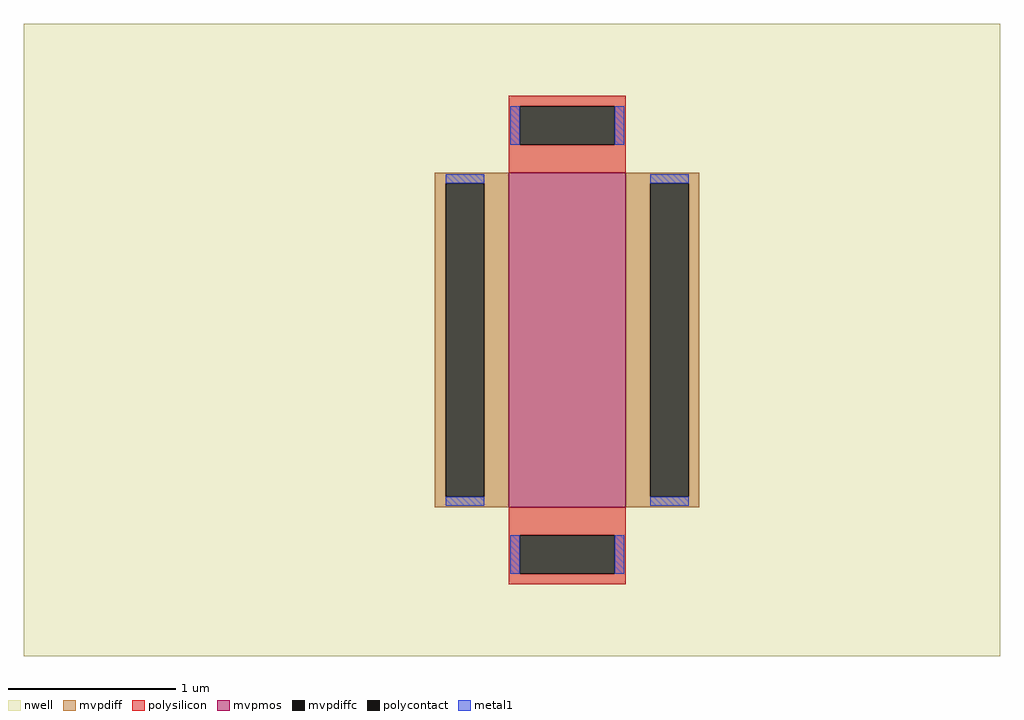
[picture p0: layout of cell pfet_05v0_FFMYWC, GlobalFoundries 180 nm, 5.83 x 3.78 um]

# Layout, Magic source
magic
tech gf180mcuD
magscale 1 10
<< nwell >>
rect -649 -378 517 378
<< mvpmos >>
rect -70 -200 70 200
<< mvpdiff >>
rect -158 187 -70 200
rect -158 -187 -145 187
rect -99 -187 -70 187
rect -158 -200 -70 -187
rect 70 187 158 200
rect 70 -187 99 187
rect 145 -187 158 187
rect 70 -200 158 -187
<< mvpdiffc >>
rect -145 -187 -99 187
rect 99 -187 145 187
<< polysilicon >>
rect -70 279 70 292
rect -70 233 -57 279
rect 57 233 70 279
rect -70 200 70 233
rect -70 -233 70 -200
rect -70 -279 -57 -233
rect 57 -279 70 -233
rect -70 -292 70 -279
<< polycontact >>
rect -57 233 57 279
rect -57 -279 57 -233
<< metal1 >>
rect -68 233 -57 279
rect 57 233 68 279
rect -145 187 -99 198
rect -145 -198 -99 -187
rect 99 187 145 198
rect 99 -198 145 -187
rect -68 -279 -57 -233
rect 57 -279 68 -233
<< properties >>
string gencell pfet_05v0
string library gf180mcu
string parameters w 2 l 0.7 m 1 nf 1 diffcov 100 polycov 100 guard 0 glc 0 grc 0 gtc 0 gbc 0 tbcov 100 rlcov 100 topc 0 botc 0 poverlap 1 doverlap 1 lmin 0.5 wmin 0.3 class mosfet full_metal 0 compatible {pfet_03v3 pfet_05v0 pfet_06v0}
<< end >>
